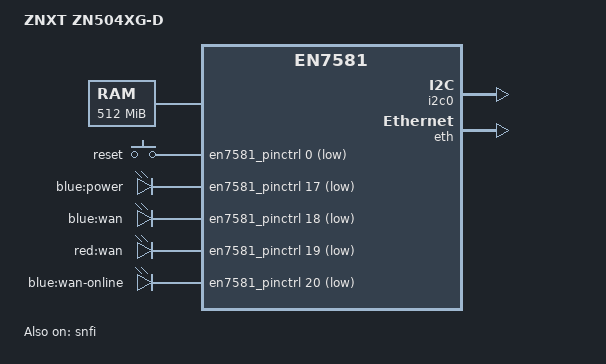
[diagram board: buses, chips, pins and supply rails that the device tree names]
// SPDX-License-Identifier: (GPL-2.0-only OR BSD-2-Clause)
/dts-v1/;

/* BL2 and TF-A reserve the first 2 MiB of DRAM. */
/memreserve/ 0x80000000 0x200000;

#include <dt-bindings/gpio/gpio.h>
#include <dt-bindings/input/input.h>
#include "en7581.dtsi"

/*
 * Same board peripherals as the Nokia XG-040G-MD, minus USB.  The LEDs are
 * blue where the Nokia ones are green; the red one stays red.
 */

/ {
	model = "ZNXT ZN504XG-D";
	compatible = "znxt,zn504xg-d", "airoha,an7581", "airoha,en7581";

	aliases {
		serial0 = &uart1;
	};

	chosen {
		stdout-path = "serial0:115200n8";
	};

	options {
		u-boot {
			compatible = "u-boot,config";
			/* Web recovery LED chase, in this order; red stays out. */
			httpd-chase-leds = <&led_power &led_wan &led_wan_online>;
		};
	};

	/* 512 MiB fallback; dram_init() probes and fixups the real size. */
	memory@80000000 {
		device_type = "memory";
		reg = <0x0 0x80000000 0x0 0x20000000>;
	};

	keys {
		compatible = "gpio-keys";

		key-reset {
			label = "reset";
			linux,code = <KEY_RESTART>;
			gpios = <&en7581_pinctrl 0 GPIO_ACTIVE_LOW>;
		};
	};

	leds {
		compatible = "gpio-leds";

		led_power: led-power {
			label = "blue:power";
			gpios = <&en7581_pinctrl 17 GPIO_ACTIVE_LOW>;
		};

		led_wan: led-wan {
			label = "blue:wan";
			gpios = <&en7581_pinctrl 18 GPIO_ACTIVE_LOW>;
		};

		led-wan-red {
			label = "red:wan";
			gpios = <&en7581_pinctrl 19 GPIO_ACTIVE_LOW>;
		};

		led_wan_online: led-wan-online {
			label = "blue:wan-online";
			gpios = <&en7581_pinctrl 20 GPIO_ACTIVE_LOW>;
		};
	};
};

&en7581_pinctrl {
	gpio-ranges = <&en7581_pinctrl 0 13 50>;
};

&snfi {
	status = "okay";
};

&spi_nand {
	/* ID 2c:24 covers multiple geometries; the board compatible selects F50L2G41XA. */
	compatible = "esmt,f50l2g41xa", "spi-nand";

	partitions {
		compatible = "fixed-partitions";
		#address-cells = <1>;
		#size-cells = <1>;

		partition@0 {
			label = "bl2";
			reg = <0x0 0x20000>;
		};

		partition@20000 {
			label = "ubi";
			reg = <0x20000 0xffe0000>;
		};
	};
};

&i2c0 {
	status = "okay";
};

&eth {
	status = "okay";
};
